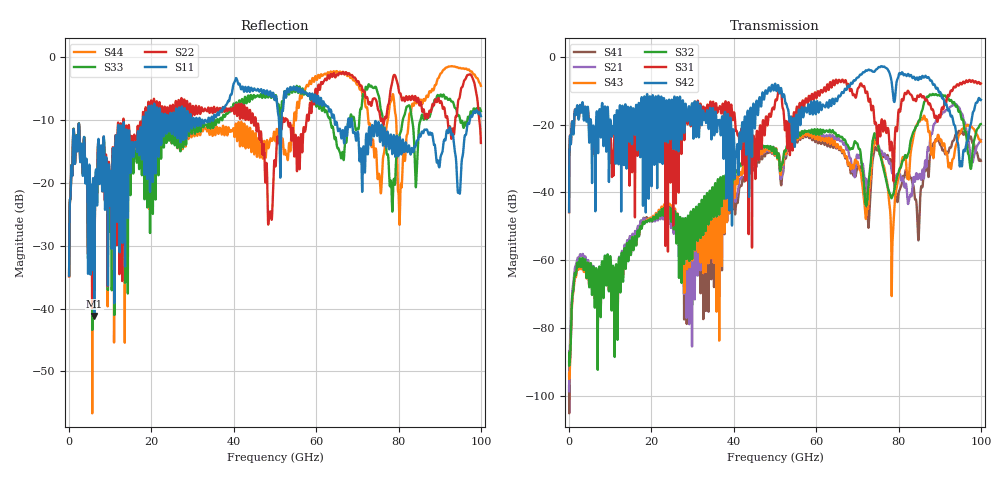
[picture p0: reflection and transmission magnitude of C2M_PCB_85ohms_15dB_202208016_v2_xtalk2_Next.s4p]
! Info: Touchstone file created by Circ.  Input file=Intel_C2M_200G_4p0in_202208016_staggered.circ
# Hz S RI R 50
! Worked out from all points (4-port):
!   10000 points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, 10 MHz to 100 GHz, reference 50 ohm
!   strongest paths, dB at 10 MHz, 25.01 GHz, 50.01 GHz, 75.01 GHz, 100 GHz:
!     S42: -45.7, -13.0, -7.9, -3.2, -12.7
!     S31: -45.8, -14.9, -13.4, -23.2, -7.8
!     S32: -89.9, -45.1, -28.3, -26.0, -19.8
!     S43: -93.5, -43.9, -28.9, -26.5, -25.0
!     S21: -98.7, -46.5, -28.4, -25.9, -24.5
!     S41: -97.1, -45.8, -29.0, -27.4, -30.7
!   lowest |S11| = -41.2 dB at 6.12 GHz (marker M1), VSWR 1.02, Z = 50.6 + j0.616 ohm
!   |S11| at or under -10 dB: start of sweep to 17.95 GHz; 64.44 GHz to 67.77 GHz (3.33 GHz wide, 5.04 % of centre); 68.68 GHz to 97.3 GHz (28.62 GHz wide, 34.5 % of centre)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
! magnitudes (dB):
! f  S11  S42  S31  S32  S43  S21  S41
! 10 MHz  -34.7  -45.7  -45.8  -89.9  -93.5  -98.7  -97.1
! 6.12 GHz  -41.2  -22.4  -24.6  -66.1  -68.4  -63.4  -65.5
! 56.8 GHz  -5.3  -17.5  -13.0  -22.5  -23.5  -22.6  -24.0
! 74.59 GHz  -11.0  -3.7  -20.0  -24.2  -25.5  -24.9  -27.1
! 78.46 GHz  -15.3  -8.8  -27.2  -41.3  -57.8  -34.3  -33.9
! 85.15 GHz  -12.4  -5.9  -11.4  -18.6  -19.1  -34.6  -44.7
! 100 GHz  -9.4  -12.7  -7.8  -19.8  -25.0  -24.5  -30.7
